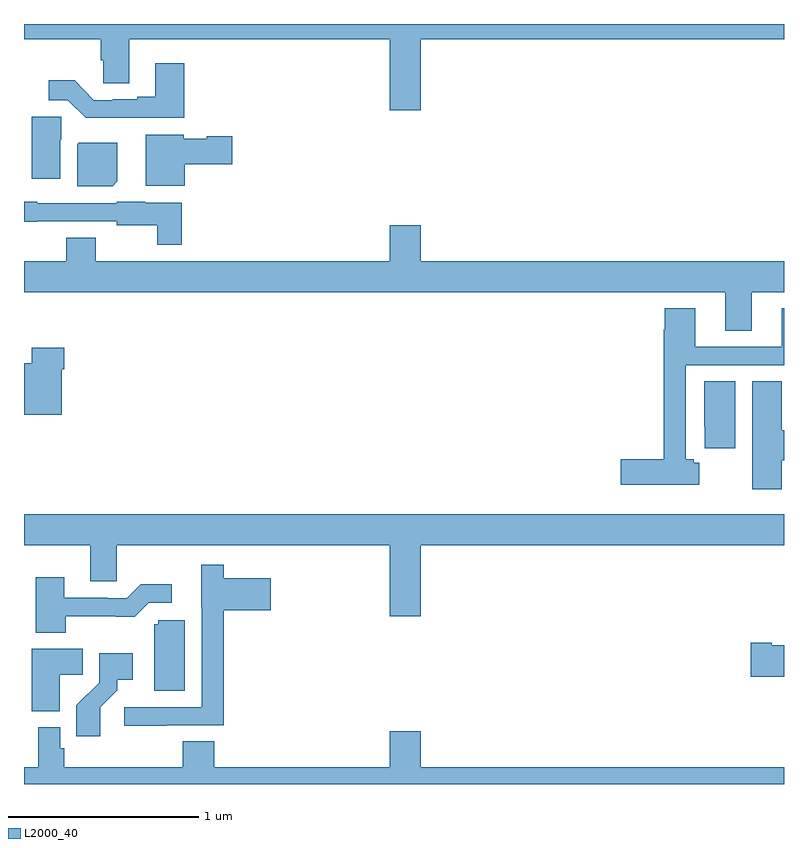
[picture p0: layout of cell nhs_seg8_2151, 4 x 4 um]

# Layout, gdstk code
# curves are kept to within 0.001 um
import gdstk
lib = gdstk.Library(unit=1e-6, precision=1e-09)
def P(c, l, *ps):  # polygons
    for p in ps: c.add(gdstk.Polygon(p, *l))
L2000_40 = (2000, 40)

nhs_seg8_2151 = lib.new_cell('nhs_seg8_2151')
P(nhs_seg8_2151, L2000_40, [(249.088,1129.82),(251,1129.82),(251,1129.9),(247,1129.9),(247,1129.82),(247.403,1129.82),(247.403,1129.71),(247.416,1129.71),(247.416,1129.588),(247.555,1129.588),(247.555,1129.82),(248.924,1129.82),(248.924,1129.446),(249.088,1129.446)],
  [(247.844,1129.693),(247.691,1129.693),(247.691,1129.516),(247.595,1129.516),(247.595,1129.503),(247.468,1129.503),(247.468,1129.5),(247.368,1129.5),(247.266,1129.603),(247.131,1129.603),(247.131,1129.5),(247.23,1129.5),(247.325,1129.406),(247.844,1129.406)],
  [(247.192,1129.29),(247.196,1129.29),(247.196,1129.413),(247.04,1129.413),(247.04,1129.086),(247.192,1129.086)],
  [(247.846,1129.163),(248.095,1129.163),(248.095,1129.31),(247.962,1129.31),(247.962,1129.297),(247.842,1129.297),(247.842,1129.318),(247.64,1129.318),(247.64,1129.049),(247.846,1129.049)],
  [(247.492,1129.072),(247.492,1129.276),(247.288,1129.276),(247.28,1129.268),(247.28,1129.046),(247.466,1129.046)],
  [(247.829,1128.958),(247.638,1128.958),(247.638,1128.964),(247.488,1128.964),(247.488,1128.957),(247.071,1128.957),(247.071,1128.964),(247,1128.964),(247,1128.86),(247.071,1128.86),(247.071,1128.861),(247.488,1128.861),(247.488,1128.842),(247.701,1128.842),(247.701,1128.737),(247.829,1128.737)],
  [(250.831,1128.488),(251,1128.488),(251,1128.652),(249.088,1128.652),(249.088,1128.841),(248.924,1128.841),(248.924,1128.652),(247.377,1128.652),(247.377,1128.776),(247.222,1128.776),(247.222,1128.652),(247,1128.652),(247,1128.488),(250.691,1128.488),(250.691,1128.286),(250.831,1128.286)],
  [(250.553,1127.591),(250.524,1127.591),(250.524,1127.61),(250.482,1127.61),(250.482,1128.105),(251,1128.105),(251,1128.403),(250.988,1128.403),(250.988,1128.201),(250.534,1128.201),(250.534,1128.403),(250.373,1128.403),(250.373,1128.29),(250.366,1128.29),(250.366,1127.609),(250.14,1127.609),(250.14,1127.474),(250.553,1127.474)],
  [(247.198,1128.083),(247.211,1128.083),(247.211,1128.196),(247.04,1128.196),(247.04,1128.115),(247,1128.115),(247,1127.843),(247.198,1127.843)],
  [(250.744,1128.02),(250.58,1128.02),(250.58,1127.779),(250.582,1127.779),(250.582,1127.667),(250.744,1127.667)],
  [(250.987,1127.603),(251,1127.603),(251,1127.761),(250.987,1127.761),(250.987,1128.02),(250.832,1128.02),(250.832,1127.451),(250.987,1127.451)],
  [(249.088,1127.156),(251,1127.156),(251,1127.32),(247,1127.32),(247,1127.156),(247.349,1127.156),(247.349,1126.966),(247.488,1126.966),(247.488,1127.156),(248.924,1127.156),(248.924,1126.782),(249.088,1126.782)],
  [(247.751,1126.209),(248.051,1126.209),(248.051,1126.814),(248.299,1126.814),(248.299,1126.984),(248.051,1126.984),(248.051,1127.053),(247.934,1127.053),(247.934,1126.83),(247.935,1126.83),(247.935,1126.305),(247.527,1126.305),(247.527,1126.207),(247.751,1126.207)],
  [(247.221,1126.782),(247.583,1126.781),(247.656,1126.854),(247.777,1126.854),(247.777,1126.951),(247.615,1126.951),(247.542,1126.878),(247.442,1126.878),(247.442,1126.881),(247.213,1126.881),(247.213,1126.987),(247.061,1126.987),(247.061,1126.697),(247.221,1126.697)],
  [(247.846,1126.761),(247.707,1126.761),(247.707,1126.74),(247.685,1126.74),(247.685,1126.392),(247.846,1126.392)],
  [(251,1126.63),(250.936,1126.63),(250.936,1126.643),(250.824,1126.643),(250.824,1126.465),(251,1126.465)],
  [(247.189,1126.474),(247.31,1126.474),(247.31,1126.612),(247.04,1126.612),(247.04,1126.283),(247.189,1126.283)],
  [(247.402,1126.303),(247.492,1126.393),(247.492,1126.448),(247.573,1126.448),(247.573,1126.588),(247.395,1126.588),(247.395,1126.433),(247.276,1126.314),(247.276,1126.152),(247.402,1126.152)],
  [(251,1125.988),(249.088,1125.988),(249.088,1126.177),(248.924,1126.177),(248.924,1125.988),(248,1125.988),(248,1126.124),(247.835,1126.124),(247.835,1125.988),(247.211,1125.988),(247.211,1126.089),(247.191,1126.089),(247.191,1126.198),(247.075,1126.198),(247.075,1125.988),(247,1125.988),(247,1125.9),(251,1125.9)])

lib.write_gds('nhs_seg8_2151.gds')
